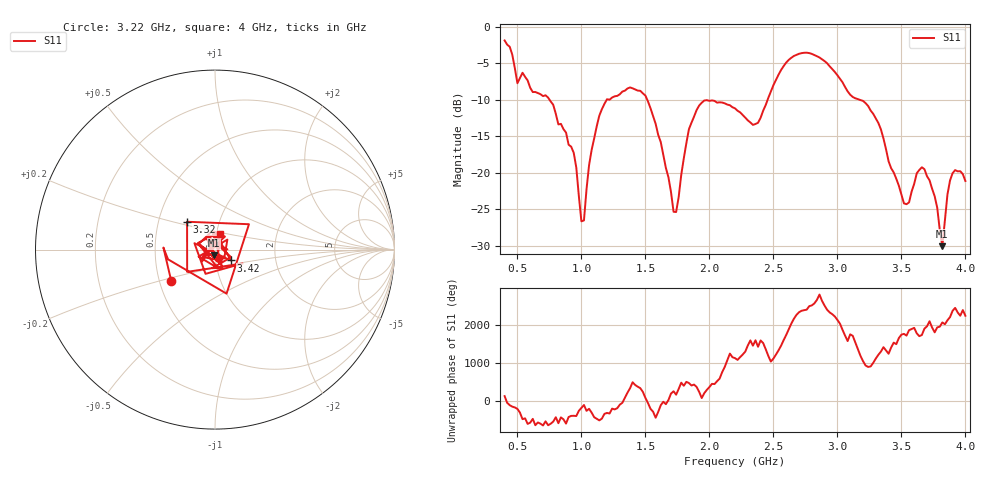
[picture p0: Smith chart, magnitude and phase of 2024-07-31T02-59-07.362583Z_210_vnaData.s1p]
!Created with skrf (http://scikit-rf.org).
# Hz S RI R 50.0
!freq ReS11 ImS11
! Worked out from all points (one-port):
!   181 points, 400 MHz to 4 GHz, reference 50 ohm
!   lowest |S11| = -30.1 dB at 3.82 GHz (marker M1), VSWR 1.06, Z = 49.3 - j3.05 ohm
!   |S11| at or under -10 dB: 752 MHz to 1.197 GHz (445.1 MHz wide, 45.7 % of centre); 1.515 GHz to 2.454 GHz (939.4 MHz wide, 47.3 % of centre); 3.177 GHz to end of sweep
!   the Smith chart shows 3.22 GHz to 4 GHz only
!   S11 on the Smith chart (normalised r, x): 3.22 GHz: 0.58, -0.22; 3.32 GHz: 0.70, +0.23; 3.42 GHz: 1.19, -0.15; 4 GHz: 1.04, +0.18
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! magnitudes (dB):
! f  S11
! 400 MHz  -1.8
! 500 MHz  -7.7
! 860 MHz  -14.0
! 940 MHz  -17.3
! 1 GHz  -26.7
! 1.02 GHz  -26.5
! 1.06 GHz  -18.9
! 1.14 GHz  -12.1
! 1.3 GHz  -9.2
! 1.5 GHz  -9.4
! 1.62 GHz  -15.8
! 1.72 GHz  -25.3
! 1.76 GHz  -23.3
! 1.84 GHz  -14.0
! 1.92 GHz  -10.8
! 2.2 GHz  -11.2
! 2.38 GHz  -13.1
! 2.66 GHz  -4.0
! 3.1 GHz  -9.3
! 3.22 GHz  -10.4
! 3.32 GHz  -13.2
! 3.42 GHz  -19.4
! 3.56 GHz  -24.1
! 3.68 GHz  -19.5
! 3.76 GHz  -23.2
! 3.82 GHz  -30.1
! 3.9 GHz  -20.0
! 4 GHz  -21.1
